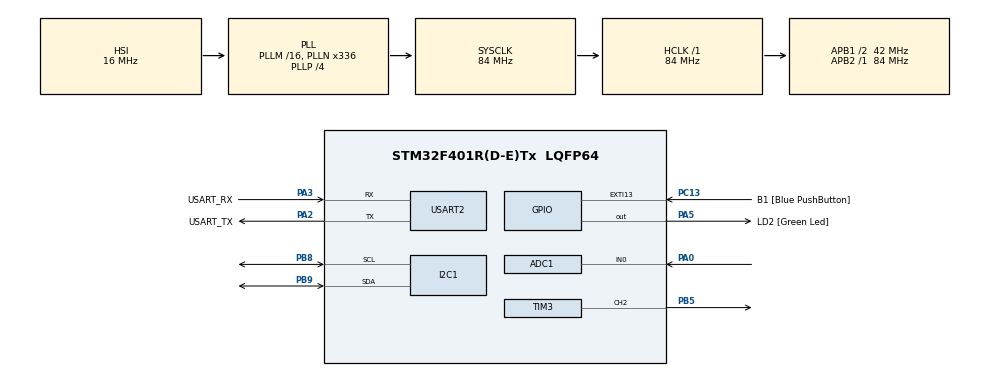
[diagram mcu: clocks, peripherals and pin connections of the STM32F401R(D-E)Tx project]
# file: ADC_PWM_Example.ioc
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ADC1.Channel-0\#ChannelRegularConversion=ADC_CHANNEL_0
ADC1.ContinuousConvMode=ENABLE
ADC1.NbrOfConversionFlag=1
ADC1.Rank-0\#ChannelRegularConversion=1
ADC1.SamplingTime-0\#ChannelRegularConversion=ADC_SAMPLETIME_3CYCLES
ADC1.master=1
Mcu.Family=STM32F4
Mcu.Name=STM32F401R(D-E)Tx
Mcu.Package=LQFP64
NVIC.PriorityGroup=NVIC_PRIORITYGROUP_4
PA0-WKUP.Signal=ADCx_IN0
PA13.GPIO_Label=TMS
PA13.Mode=Trace_Asynchronous_SW
PA13.Signal=SYS_JTMS-SWDIO
PA14.GPIO_Label=TCK
PA14.Mode=Trace_Asynchronous_SW
PA14.Signal=SYS_JTCK-SWCLK
PA2.GPIO_Label=USART_TX
PA2.GPIO_Mode=GPIO_MODE_AF_PP
PA2.GPIO_PuPd=GPIO_NOPULL
PA2.GPIO_Speed=GPIO_SPEED_FREQ_LOW
PA2.Mode=Asynchronous
PA2.Signal=USART2_TX
PA3.GPIO_Label=USART_RX
PA3.GPIO_Mode=GPIO_MODE_AF_PP
PA3.GPIO_PuPd=GPIO_NOPULL
PA3.GPIO_Speed=GPIO_SPEED_FREQ_LOW
PA3.Mode=Asynchronous
PA3.Signal=USART2_RX
PA5.GPIO_Label=LD2 [Green Led]
PA5.GPIO_Mode=GPIO_MODE_OUTPUT_PP
PA5.GPIO_PuPd=GPIO_NOPULL
PA5.GPIO_Speed=GPIO_SPEED_FREQ_LOW
PA5.Signal=GPIO_Output
PB3.GPIO_Label=SWO
PB3.Mode=Trace_Asynchronous_SW
PB3.Signal=SYS_JTDO-SWO
PB5.Signal=S_TIM3_CH2
PB8.Mode=I2C
PB8.Signal=I2C1_SCL
PB9.Mode=I2C
PB9.Signal=I2C1_SDA
PC13-ANTI_TAMP.GPIO_Label=B1 [Blue PushButton]
PC13-ANTI_TAMP.GPIO_ModeDefaultEXTI=GPIO_MODE_IT_FALLING
PC13-ANTI_TAMP.GPIO_PuPd=GPIO_NOPULL
PC13-ANTI_TAMP.Signal=GPXTI13
PC14-OSC32_IN.Mode=LSE-External-Oscillator
PC14-OSC32_IN.Signal=RCC_OSC32_IN
PC15-OSC32_OUT.Mode=LSE-External-Oscillator
PC15-OSC32_OUT.Signal=RCC_OSC32_OUT
PH0\ -\ OSC_IN.Mode=HSE-External-Clock-Source
PH0\ -\ OSC_IN.Signal=RCC_OSC_IN
PH1\ -\ OSC_OUT.Mode=HSE-External-Clock-Source
PH1\ -\ OSC_OUT.Signal=RCC_OSC_OUT
ProjectManager.HeapSize=0x200
ProjectManager.StackSize=0x400
ProjectManager.TargetToolchain=STM32CubeIDE
RCC.48MHZClocksFreq_Value=48000000
RCC.AHBFreq_Value=84000000
RCC.APB1CLKDivider=RCC_HCLK_DIV2
RCC.APB1Freq_Value=42000000
RCC.APB1TimFreq_Value=84000000
RCC.APB2Freq_Value=84000000
RCC.APB2TimFreq_Value=84000000
RCC.CortexFreq_Value=84000000
RCC.HCLKFreq_Value=84000000
RCC.HSE_VALUE=8000000
RCC.HSI_VALUE=16000000
RCC.PLLN=336
RCC.PLLP=RCC_PLLP_DIV4
RCC.PLLQ=7
RCC.SYSCLKFreq_VALUE=84000000
RCC.SYSCLKSource=RCC_SYSCLKSOURCE_PLLCLK
RCC.VCOOutputFreq_Value=336000000
SH.ADCx_IN0.0=ADC1_IN0,IN0
SH.S_TIM3_CH2.0=TIM3_CH2,PWM Generation2 CH2
TIM3.Channel-PWM\ Generation2\ CH2=TIM_CHANNEL_2
TIM3.Prescaler=83
USART2.VirtualMode=VM_ASYNC
VP_TIM3_VS_ClockSourceINT.Mode=Internal
board=NUCLEO-F401RE

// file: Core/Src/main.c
/* USER CODE BEGIN Header */
/**
  ******************************************************************************
  * @file           : main.c
  * @brief          : Main program body
  ******************************************************************************
  * @attention
  *
  * Copyright (c) 2026 STMicroelectronics.
  * All rights reserved.
  *
  * This software is licensed under terms that can be found in the LICENSE file
  * in the root directory of this software component.
  * If no LICENSE file comes with this software, it is provided AS-IS.
  *
  ******************************************************************************
  */
/* USER CODE END Header */
#include "main.h"

/* USER CODE BEGIN Includes */
#include "stdio.h"
#include "string.h"
/* USER CODE END Includes */

ADC_HandleTypeDef hadc1;

I2C_HandleTypeDef hi2c1;

TIM_HandleTypeDef htim3;

UART_HandleTypeDef huart2;

/* USER CODE BEGIN PV */
char msg[100];
uint32_t pwm_value;
uint32_t adc_value;
uint32_t voltage;
uint32_t Duty_cycle;

/* USER CODE END PV */

void SystemClock_Config(void);
static void MX_GPIO_Init(void);
static void MX_ADC1_Init(void);
static void MX_TIM3_Init(void);
static void MX_USART2_UART_Init(void);
static void MX_I2C1_Init(void);

/* USER CODE BEGIN 0 */
void PWM(void){

		__HAL_TIM_SET_COMPARE(&htim3, TIM_CHANNEL_2,999);
		HAL_Delay(500);

		__HAL_TIM_SET_COMPARE(&htim3, TIM_CHANNEL_2,750);
		HAL_Delay(500);

		__HAL_TIM_SET_COMPARE(&htim3, TIM_CHANNEL_2,500);
		HAL_Delay(500);

		__HAL_TIM_SET_COMPARE(&htim3, TIM_CHANNEL_2,250);
		HAL_Delay(500);

		__HAL_TIM_SET_COMPARE(&htim3, TIM_CHANNEL_2, 0);
		HAL_Delay(500);

}
void ADC_PWM_Control(void){
	if(HAL_ADC_PollForConversion(&hadc1,HAL_MAX_DELAY) == HAL_OK){
		adc_value = HAL_ADC_GetValue(&hadc1);
		voltage = (adc_value*3300)/4095;
		pwm_value = (adc_value * 999)/4095;
		__HAL_TIM_SET_COMPARE(&htim3, TIM_CHANNEL_2, pwm_value);
		Duty_cycle = (pwm_value *100)/999;
		sprintf(msg, "pwm_value = %lu, adc_value = %lu, Voltage = %lu mV, Duty_cycle = %lu%% \r\n",pwm_value,adc_value,voltage,Duty_cycle);
		HAL_UART_Transmit(&huart2,(uint8_t*)msg,strlen(msg),HAL_MAX_DELAY);
		HAL_Delay(200);
	}

}

void I2C_Test(void){
	if(HAL_I2C_IsDeviceReady(&hi2c1,0x46,3,100) == HAL_OK){
		sprintf(msg, " BH1750 Sensor is connected\r\n");
		HAL_UART_Transmit(&huart2,(uint8_t*)msg,strlen(msg),HAL_MAX_DELAY);
	}
	else{
		sprintf(msg, " BH1750 Sensor is not connected\r\n");
		HAL_UART_Transmit(&huart2,(uint8_t*)msg,strlen(msg),HAL_MAX_DELAY);
	}
}

/* USER CODE END 0 */

int main(void)
{

  /* MCU Configuration--------------------------------------------------------*/

  /* Reset of all peripherals, Initializes the Flash interface and the Systick. */
  HAL_Init();

  /* Configure the system clock */
  SystemClock_Config();

  /* Initialize all configured peripherals */
  MX_GPIO_Init();
  MX_ADC1_Init();
  MX_TIM3_Init();
  MX_USART2_UART_Init();
  MX_I2C1_Init();
  /* USER CODE BEGIN 2 */
  HAL_TIM_PWM_Start(&htim3,TIM_CHANNEL_2);
  HAL_ADC_Start(&hadc1);

  /* USER CODE END 2 */
  I2C_Test();

  /* Infinite loop */
  while (1)
  {

  }
}

void SystemClock_Config(void)
{
  RCC_OscInitTypeDef RCC_OscInitStruct = {0};
  RCC_ClkInitTypeDef RCC_ClkInitStruct = {0};

  /** Configure the main internal regulator output voltage
  */
  __HAL_RCC_PWR_CLK_ENABLE();
  __HAL_PWR_VOLTAGESCALING_CONFIG(PWR_REGULATOR_VOLTAGE_SCALE2);

  /** Initializes the RCC Oscillators according to the specified parameters
  * in the RCC_OscInitTypeDef structure.
  */
  RCC_OscInitStruct.OscillatorType = RCC_OSCILLATORTYPE_HSI;
  RCC_OscInitStruct.HSIState = RCC_HSI_ON;
  RCC_OscInitStruct.HSICalibrationValue = RCC_HSICALIBRATION_DEFAULT;
  RCC_OscInitStruct.PLL.PLLState = RCC_PLL_ON;
  RCC_OscInitStruct.PLL.PLLSource = RCC_PLLSOURCE_HSI;
  RCC_OscInitStruct.PLL.PLLM = 16;
  RCC_OscInitStruct.PLL.PLLN = 336;
  RCC_OscInitStruct.PLL.PLLP = RCC_PLLP_DIV4;
  RCC_OscInitStruct.PLL.PLLQ = 7;
  if (HAL_RCC_OscConfig(&RCC_OscInitStruct) != HAL_OK)
  {
    Error_Handler();
  }

  /** Initializes the CPU, AHB and APB buses clocks
  */
  RCC_ClkInitStruct.ClockType = RCC_CLOCKTYPE_HCLK|RCC_CLOCKTYPE_SYSCLK
                              |RCC_CLOCKTYPE_PCLK1|RCC_CLOCKTYPE_PCLK2;
  RCC_ClkInitStruct.SYSCLKSource = RCC_SYSCLKSOURCE_PLLCLK;
  RCC_ClkInitStruct.AHBCLKDivider = RCC_SYSCLK_DIV1;
  RCC_ClkInitStruct.APB1CLKDivider = RCC_HCLK_DIV2;
  RCC_ClkInitStruct.APB2CLKDivider = RCC_HCLK_DIV1;

  if (HAL_RCC_ClockConfig(&RCC_ClkInitStruct, FLASH_LATENCY_2) != HAL_OK)
  {
    Error_Handler();
  }
}

static void MX_ADC1_Init(void)
{

  ADC_ChannelConfTypeDef sConfig = {0};

  /** Configure the global features of the ADC (Clock, Resolution, Data Alignment and number of conversion)
  */
  hadc1.Instance = ADC1;
  hadc1.Init.ClockPrescaler = ADC_CLOCK_SYNC_PCLK_DIV4;
  hadc1.Init.Resolution = ADC_RESOLUTION_12B;
  hadc1.Init.ScanConvMode = DISABLE;
  hadc1.Init.ContinuousConvMode = ENABLE;
  hadc1.Init.DiscontinuousConvMode = DISABLE;
  hadc1.Init.ExternalTrigConvEdge = ADC_EXTERNALTRIGCONVEDGE_NONE;
  hadc1.Init.ExternalTrigConv = ADC_SOFTWARE_START;
  hadc1.Init.DataAlign = ADC_DATAALIGN_RIGHT;
  hadc1.Init.NbrOfConversion = 1;
  hadc1.Init.DMAContinuousRequests = DISABLE;
  hadc1.Init.EOCSelection = ADC_EOC_SINGLE_CONV;
  if (HAL_ADC_Init(&hadc1) != HAL_OK)
  {
    Error_Handler();
  }

  /** Configure for the selected ADC regular channel its corresponding rank in the sequencer and its sample time.
  */
  sConfig.Channel = ADC_CHANNEL_0;
  sConfig.Rank = 1;
  sConfig.SamplingTime = ADC_SAMPLETIME_3CYCLES;
  if (HAL_ADC_ConfigChannel(&hadc1, &sConfig) != HAL_OK)
  {
    Error_Handler();
  }

}

static void MX_I2C1_Init(void)
{

  hi2c1.Instance = I2C1;
  hi2c1.Init.ClockSpeed = 100000;
  hi2c1.Init.DutyCycle = I2C_DUTYCYCLE_2;
  hi2c1.Init.OwnAddress1 = 0;
  hi2c1.Init.AddressingMode = I2C_ADDRESSINGMODE_7BIT;
  hi2c1.Init.DualAddressMode = I2C_DUALADDRESS_DISABLE;
  hi2c1.Init.OwnAddress2 = 0;
  hi2c1.Init.GeneralCallMode = I2C_GENERALCALL_DISABLE;
  hi2c1.Init.NoStretchMode = I2C_NOSTRETCH_DISABLE;
  if (HAL_I2C_Init(&hi2c1) != HAL_OK)
  {
    Error_Handler();
  }

}

static void MX_TIM3_Init(void)
{

  TIM_ClockConfigTypeDef sClockSourceConfig = {0};
  TIM_MasterConfigTypeDef sMasterConfig = {0};
  TIM_OC_InitTypeDef sConfigOC = {0};

  htim3.Instance = TIM3;
  htim3.Init.Prescaler = 83;
  htim3.Init.CounterMode = TIM_COUNTERMODE_UP;
  htim3.Init.Period = 65535;
  htim3.Init.ClockDivision = TIM_CLOCKDIVISION_DIV1;
  htim3.Init.AutoReloadPreload = TIM_AUTORELOAD_PRELOAD_DISABLE;
  if (HAL_TIM_Base_Init(&htim3) != HAL_OK)
  {
    Error_Handler();
  }
  sClockSourceConfig.ClockSource = TIM_CLOCKSOURCE_INTERNAL;
  if (HAL_TIM_ConfigClockSource(&htim3, &sClockSourceConfig) != HAL_OK)
  {
    Error_Handler();
  }
  if (HAL_TIM_PWM_Init(&htim3) != HAL_OK)
  {
    Error_Handler();
  }
  sMasterConfig.MasterOutputTrigger = TIM_TRGO_RESET;
  sMasterConfig.MasterSlaveMode = TIM_MASTERSLAVEMODE_DISABLE;
  if (HAL_TIMEx_MasterConfigSynchronization(&htim3, &sMasterConfig) != HAL_OK)
  {
    Error_Handler();
  }
  sConfigOC.OCMode = TIM_OCMODE_PWM1;
  sConfigOC.Pulse = 0;
  sConfigOC.OCPolarity = TIM_OCPOLARITY_HIGH;
  sConfigOC.OCFastMode = TIM_OCFAST_DISABLE;
  if (HAL_TIM_PWM_ConfigChannel(&htim3, &sConfigOC, TIM_CHANNEL_2) != HAL_OK)
  {
    Error_Handler();
  }
  HAL_TIM_MspPostInit(&htim3);

}

static void MX_USART2_UART_Init(void)
{

  huart2.Instance = USART2;
  huart2.Init.BaudRate = 115200;
  huart2.Init.WordLength = UART_WORDLENGTH_8B;
  huart2.Init.StopBits = UART_STOPBITS_1;
  huart2.Init.Parity = UART_PARITY_NONE;
  huart2.Init.Mode = UART_MODE_TX_RX;
  huart2.Init.HwFlowCtl = UART_HWCONTROL_NONE;
  huart2.Init.OverSampling = UART_OVERSAMPLING_16;
  if (HAL_UART_Init(&huart2) != HAL_OK)
  {
    Error_Handler();
  }

}

static void MX_GPIO_Init(void)
{
  GPIO_InitTypeDef GPIO_InitStruct = {0};

  /* GPIO Ports Clock Enable */
  __HAL_RCC_GPIOC_CLK_ENABLE();
  __HAL_RCC_GPIOH_CLK_ENABLE();
  __HAL_RCC_GPIOA_CLK_ENABLE();
  __HAL_RCC_GPIOB_CLK_ENABLE();

  /*Configure GPIO pin Output Level */
  HAL_GPIO_WritePin(LD2_GPIO_Port, LD2_Pin, GPIO_PIN_RESET);

  /*Configure GPIO pin : B1_Pin */
  GPIO_InitStruct.Pin = B1_Pin;
  GPIO_InitStruct.Mode = GPIO_MODE_IT_FALLING;
  GPIO_InitStruct.Pull = GPIO_NOPULL;
  HAL_GPIO_Init(B1_GPIO_Port, &GPIO_InitStruct);

  /*Configure GPIO pin : LD2_Pin */
  GPIO_InitStruct.Pin = LD2_Pin;
  GPIO_InitStruct.Mode = GPIO_MODE_OUTPUT_PP;
  GPIO_InitStruct.Pull = GPIO_NOPULL;
  GPIO_InitStruct.Speed = GPIO_SPEED_FREQ_LOW;
  HAL_GPIO_Init(LD2_GPIO_Port, &GPIO_InitStruct);

}

void Error_Handler(void)
{
  __disable_irq();
  while (1)
  {
  }
}
